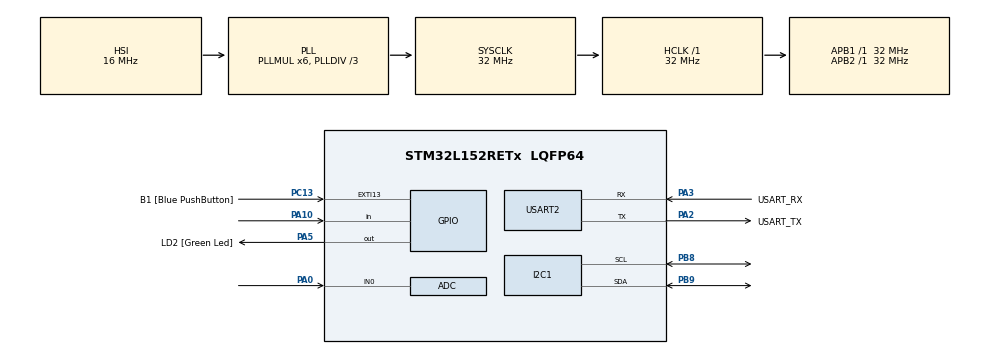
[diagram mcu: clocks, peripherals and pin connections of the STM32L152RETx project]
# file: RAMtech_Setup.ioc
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ADC.Channel-0\#ChannelRegularConversion=ADC_CHANNEL_0
ADC.ContinuousConvMode=ENABLE
ADC.DMAContinuousRequests=ENABLE
ADC.NbrOfConversion=1
ADC.NbrOfConversionFlag=1
ADC.Rank-0\#ChannelRegularConversion=1
ADC.SamplingTime-0\#ChannelRegularConversion=ADC_SAMPLETIME_384CYCLES
ADC.ScanConvMode=ADC_SCAN_ENABLE
Dma.ADC.0.Direction=DMA_PERIPH_TO_MEMORY
Dma.ADC.0.Instance=DMA1_Channel1
Dma.ADC.0.MemDataAlignment=DMA_MDATAALIGN_WORD
Dma.ADC.0.MemInc=DMA_MINC_ENABLE
Dma.ADC.0.Mode=DMA_CIRCULAR
Dma.ADC.0.PeriphDataAlignment=DMA_PDATAALIGN_WORD
Dma.ADC.0.PeriphInc=DMA_PINC_DISABLE
Dma.ADC.0.Priority=DMA_PRIORITY_LOW
Dma.Request0=ADC
Mcu.Family=STM32L1
Mcu.Name=STM32L152RETx
Mcu.Package=LQFP64
NVIC.DMA1_Channel1_IRQn=true\:0\:0\:false\:false\:true\:false\:true\:true
NVIC.PriorityGroup=NVIC_PRIORITYGROUP_0
PA0-WKUP1.Mode=IN0
PA0-WKUP1.Signal=ADC_IN0
PA10.Signal=GPIO_Input
PA13.GPIO_Label=TMS
PA13.Mode=Serial_Wire
PA13.Signal=SYS_JTMS-SWDIO
PA14.GPIO_Label=TCK
PA14.Mode=Serial_Wire
PA14.Signal=SYS_JTCK-SWCLK
PA2.GPIO_Label=USART_TX
PA2.Mode=Asynchronous
PA2.Signal=USART2_TX
PA3.GPIO_Label=USART_RX
PA3.Mode=Asynchronous
PA3.Signal=USART2_RX
PA5.GPIO_Label=LD2 [Green Led]
PA5.Signal=GPIO_Output
PB3.GPIO_Label=SWO
PB3.Signal=SYS_JTDO-TRACESWO
PB8.Mode=I2C
PB8.Signal=I2C1_SCL
PB9.Mode=I2C
PB9.Signal=I2C1_SDA
PC13-WKUP2.GPIO_Label=B1 [Blue PushButton]
PC13-WKUP2.Signal=GPXTI13
PC14-OSC32_IN.Mode=LSE-External-Oscillator
PC14-OSC32_IN.Signal=RCC_OSC32_IN
PC15-OSC32_OUT.Mode=LSE-External-Oscillator
PC15-OSC32_OUT.Signal=RCC_OSC32_OUT
PH0-OSC_IN.Mode=HSE-External-Clock-Source
PH0-OSC_IN.Signal=RCC_OSC_IN
PH1-OSC_OUT.Signal=RCC_OSC_OUT
ProjectManager.HeapSize=0x200
ProjectManager.StackSize=0x400
ProjectManager.TargetToolchain=STM32CubeIDE
RCC.48MHZClocksFreq_Value=48000000
RCC.AHBFreq_Value=32000000
RCC.APB1Freq_Value=32000000
RCC.APB1TimFreq_Value=32000000
RCC.APB2Freq_Value=32000000
RCC.APB2TimFreq_Value=32000000
RCC.HCLKFreq_Value=32000000
RCC.HSE_VALUE=8000000
RCC.HSI_VALUE=16000000
RCC.MSI_VALUE=2097000
RCC.PLLDIV=RCC_PLL_DIV3
RCC.PLLMUL=RCC_PLL_MUL6
RCC.RTCClockSelectionVirtual=RCC_RTCCLKSOURCE_LSE
RCC.SYSCLKFreq_VALUE=32000000
RCC.SYSCLKSource=RCC_SYSCLKSOURCE_PLLCLK
RCC.USBOutput=48000000
RCC.VCOOutputFreq_Value=96000000
USART2.VirtualMode=VM_ASYNC
board=NUCLEO-L152RE

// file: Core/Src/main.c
/* USER CODE BEGIN Header */
/**
  ******************************************************************************
  * @file           : main.c
  * @brief          : Main program body
  ******************************************************************************
  * @attention
  *
  * Copyright (c) 2025 STMicroelectronics.
  * All rights reserved.
  *
  * This software is licensed under terms that can be found in the LICENSE file
  * in the root directory of this software component.
  * If no LICENSE file comes with this software, it is provided AS-IS.
  *
  ******************************************************************************
  */
/* USER CODE END Header */
#include "main.h"

/* USER CODE BEGIN Includes */
#include "main.h"
#include "button_input.h"
#include "temp_meas.h"
#include "freq_meas.h"
#include "lcd.h"
#include "custom_chars.h"
#include "tilt.h"

/* USER CODE END Includes */

/* USER CODE BEGIN PTD */
typedef enum {
    MENU_MAIN,
	MENU_TEMP,
	MENU_FREQ
} MenuState;
/* USER CODE END PTD */

/* USER CODE BEGIN PD */
#define REG_MODE1 0x00
#define REG_MODE2 0x01
#define REG_PWM0  0x02  // Red
#define REG_PWM1  0x03  // Green
#define REG_PWM2  0x04  // Blue
#define REG_GRPPWM 0x06
#define REG_LEDOUT 0x08
/* USER CODE END PD */

ADC_HandleTypeDef hadc;
DMA_HandleTypeDef hdma_adc;

I2C_HandleTypeDef hi2c1;

UART_HandleTypeDef huart2;

/* USER CODE BEGIN PV */

// This is the buffer we store our ADC readings in. Each value contains one reading.
// We can adjust the size of this buffer to allow us to store more data if desired.
// Right now, it just has one number, for one channel.
uint32_t adcBuffer[1];

/* USER CODE END PV */

void SystemClock_Config(void);
static void MX_GPIO_Init(void);
static void MX_DMA_Init(void);
static void MX_USART2_UART_Init(void);
static void MX_ADC_Init(void);
static void MX_I2C1_Init(void);

int main(void)
{

  /* MCU Configuration--------------------------------------------------------*/

  /* Reset of all peripherals, Initializes the Flash interface and the Systick. */
  HAL_Init();

  /* Configure the system clock */
  SystemClock_Config();

  /* Initialize all configured peripherals */
  MX_GPIO_Init();
  MX_DMA_Init();
  MX_USART2_UART_Init();
  MX_ADC_Init();
  MX_I2C1_Init();
  /* USER CODE BEGIN 2 */
   RGB_LCD_HandleTypeDef lcd;
   lcd.hi2c = &hi2c1;
   lcd.rgb_addr = 0x62 << 1; // RGB controller address (8-bit)
   lcd.cols = 16;
   lcd.rows = 2;

   // Initialize LCD
   RGB_LCD_Init(&lcd);
   tilt_init();
   signal_input_init();

   // Set a color for the backlight
   RGB_LCD_SetRGB(&lcd, 0, 177, 255); // Light blue
   RGB_LCD_ClearScreen(&lcd);

   // Initialize state and measurement variables
   MenuState currentMenu = MENU_MAIN;
   Button last_click = NONE;
   float t_temp;
   float freq;
   bool flip;

   // Enable ADC with DMA reading one word (32bits) at a time. It will then be stored in the adcBuffer variable.
   // We can adjust this function as necessary to implement more ADC reading functionality.
   // For example, if we change the second argument to 2, then we would take two different readings.
   // This could be useful if we wanted to implement an additional ADC channel.
   HAL_ADC_Start_DMA(&hadc, adcBuffer, 1);

  /* USER CODE END 2 */

  /* Infinite loop */
  while (1)
  {

    /* USER CODE BEGIN 3 */
	  // read the latest button push
  	  last_click = GetButton(adcBuffer);

  	  // check the orientation of the device
  	  //flip = detect_tilt();
  	  flip = false;

  	  // Based on the button push, display the correct screen on the LCD
  			switch (currentMenu) {
  				case MENU_MAIN:
  					// clear display
  					RGB_LCD_ClearScreen(&lcd);

  					if (flip == false){
  						// print right side up text for the main menu
  						RGB_LCD_SetMemoryPointerAtScreenPosition(&lcd, 0, 0);
  						RGB_LCD_WriteStringToMemory(&lcd, "MAIN MENU");
  					}
  					else if(flip == true){
  						// print upside down text for the main menu

  					}

  					// screen change options for main menu
  					if (last_click == BUTTON_UP) currentMenu = MENU_TEMP;
  					if (last_click == BUTTON_DOWN) currentMenu = MENU_FREQ;
  					break;

  				case MENU_TEMP: {
  					// clear display
  					RGB_LCD_ClearScreen(&lcd);

  					// measure temperature
  					t_temp = rtd_read_temperature_f(adcBuffer);

  					if (flip == false){
  						// print right side up text for the temperature screen
  						RGB_LCD_SetMemoryPointerAtScreenPosition(&lcd, 0, 0);
  						RGB_LCD_WriteFormattedStringToMemory(&lcd, "TEMP: %.0f F", t_temp);
  						RGB_LCD_SetMemoryPointerAtScreenPosition(&lcd, 0, 1);
  						RGB_LCD_WriteStringToMemory(&lcd,"HIT LEFT TO EXIT");
  					}
  					else if(flip == true){
  						// print upside down text for the temperature screen

  					}

  					// screen change options for temperature screen
  					if (last_click == BUTTON_LEFT) currentMenu = MENU_MAIN;
  					break;
  				}

  				case MENU_FREQ: {
  					// clear display
  					RGB_LCD_ClearScreen(&lcd);

  					// measure frequency
  					freq = measure_frequency(adcBuffer);

  					if (flip == false){
  						// print right side up text for the frequency screen
  						RGB_LCD_SetMemoryPointerAtScreenPosition(&lcd, 0, 0);
  						RGB_LCD_WriteFormattedStringToMemory(&lcd, "FREQ: %.0f Hz", freq);
  						RGB_LCD_SetMemoryPointerAtScreenPosition(&lcd, 0, 1);
  						RGB_LCD_WriteStringToMemory(&lcd,"HIT LEFT TO EXIT");
  					}
  					else if(flip == true){
  						// print upside down text for the frequency screen
  					}

  					// screen change options for frequency screen
  					if (last_click == BUTTON_LEFT) currentMenu = MENU_MAIN;
  					break;
  				}
  			}
  			HAL_Delay(100);
  }
  /* USER CODE END 3 */
}

void SystemClock_Config(void)
{
  RCC_OscInitTypeDef RCC_OscInitStruct = {0};
  RCC_ClkInitTypeDef RCC_ClkInitStruct = {0};

  /** Configure the main internal regulator output voltage
  */
  __HAL_PWR_VOLTAGESCALING_CONFIG(PWR_REGULATOR_VOLTAGE_SCALE1);

  /** Initializes the RCC Oscillators according to the specified parameters
  * in the RCC_OscInitTypeDef structure.
  */
  RCC_OscInitStruct.OscillatorType = RCC_OSCILLATORTYPE_HSI;
  RCC_OscInitStruct.HSIState = RCC_HSI_ON;
  RCC_OscInitStruct.HSICalibrationValue = RCC_HSICALIBRATION_DEFAULT;
  RCC_OscInitStruct.PLL.PLLState = RCC_PLL_ON;
  RCC_OscInitStruct.PLL.PLLSource = RCC_PLLSOURCE_HSI;
  RCC_OscInitStruct.PLL.PLLMUL = RCC_PLL_MUL6;
  RCC_OscInitStruct.PLL.PLLDIV = RCC_PLL_DIV3;
  if (HAL_RCC_OscConfig(&RCC_OscInitStruct) != HAL_OK)
  {
    Error_Handler();
  }

  /** Initializes the CPU, AHB and APB buses clocks
  */
  RCC_ClkInitStruct.ClockType = RCC_CLOCKTYPE_HCLK|RCC_CLOCKTYPE_SYSCLK
                              |RCC_CLOCKTYPE_PCLK1|RCC_CLOCKTYPE_PCLK2;
  RCC_ClkInitStruct.SYSCLKSource = RCC_SYSCLKSOURCE_PLLCLK;
  RCC_ClkInitStruct.AHBCLKDivider = RCC_SYSCLK_DIV1;
  RCC_ClkInitStruct.APB1CLKDivider = RCC_HCLK_DIV1;
  RCC_ClkInitStruct.APB2CLKDivider = RCC_HCLK_DIV1;

  if (HAL_RCC_ClockConfig(&RCC_ClkInitStruct, FLASH_LATENCY_1) != HAL_OK)
  {
    Error_Handler();
  }
}

static void MX_ADC_Init(void)
{

  ADC_ChannelConfTypeDef sConfig = {0};

  /** Configure the global features of the ADC (Clock, Resolution, Data Alignment and number of conversion)
  */
  hadc.Instance = ADC1;
  hadc.Init.ClockPrescaler = ADC_CLOCK_ASYNC_DIV1;
  hadc.Init.Resolution = ADC_RESOLUTION_12B;
  hadc.Init.DataAlign = ADC_DATAALIGN_RIGHT;
  hadc.Init.ScanConvMode = ADC_SCAN_ENABLE;
  hadc.Init.EOCSelection = ADC_EOC_SEQ_CONV;
  hadc.Init.LowPowerAutoWait = ADC_AUTOWAIT_DISABLE;
  hadc.Init.LowPowerAutoPowerOff = ADC_AUTOPOWEROFF_DISABLE;
  hadc.Init.ChannelsBank = ADC_CHANNELS_BANK_A;
  hadc.Init.ContinuousConvMode = ENABLE;
  hadc.Init.NbrOfConversion = 1;
  hadc.Init.DiscontinuousConvMode = DISABLE;
  hadc.Init.ExternalTrigConv = ADC_SOFTWARE_START;
  hadc.Init.ExternalTrigConvEdge = ADC_EXTERNALTRIGCONVEDGE_NONE;
  hadc.Init.DMAContinuousRequests = ENABLE;
  if (HAL_ADC_Init(&hadc) != HAL_OK)
  {
    Error_Handler();
  }

  /** Configure for the selected ADC regular channel its corresponding rank in the sequencer and its sample time.
  */
  sConfig.Channel = ADC_CHANNEL_0;
  sConfig.Rank = ADC_REGULAR_RANK_1;
  sConfig.SamplingTime = ADC_SAMPLETIME_384CYCLES;
  if (HAL_ADC_ConfigChannel(&hadc, &sConfig) != HAL_OK)
  {
    Error_Handler();
  }

}

static void MX_I2C1_Init(void)
{

  hi2c1.Instance = I2C1;
  hi2c1.Init.ClockSpeed = 100000;
  hi2c1.Init.DutyCycle = I2C_DUTYCYCLE_2;
  hi2c1.Init.OwnAddress1 = 0;
  hi2c1.Init.AddressingMode = I2C_ADDRESSINGMODE_7BIT;
  hi2c1.Init.DualAddressMode = I2C_DUALADDRESS_DISABLE;
  hi2c1.Init.OwnAddress2 = 0;
  hi2c1.Init.GeneralCallMode = I2C_GENERALCALL_DISABLE;
  hi2c1.Init.NoStretchMode = I2C_NOSTRETCH_DISABLE;
  if (HAL_I2C_Init(&hi2c1) != HAL_OK)
  {
    Error_Handler();
  }

}

static void MX_USART2_UART_Init(void)
{

  huart2.Instance = USART2;
  huart2.Init.BaudRate = 115200;
  huart2.Init.WordLength = UART_WORDLENGTH_8B;
  huart2.Init.StopBits = UART_STOPBITS_1;
  huart2.Init.Parity = UART_PARITY_NONE;
  huart2.Init.Mode = UART_MODE_TX_RX;
  huart2.Init.HwFlowCtl = UART_HWCONTROL_NONE;
  huart2.Init.OverSampling = UART_OVERSAMPLING_16;
  if (HAL_UART_Init(&huart2) != HAL_OK)
  {
    Error_Handler();
  }

}

static void MX_DMA_Init(void)
{

  /* DMA controller clock enable */
  __HAL_RCC_DMA1_CLK_ENABLE();

  /* DMA interrupt init */
  /* DMA1_Channel1_IRQn interrupt configuration */
  HAL_NVIC_SetPriority(DMA1_Channel1_IRQn, 0, 0);
  HAL_NVIC_EnableIRQ(DMA1_Channel1_IRQn);

}

static void MX_GPIO_Init(void)
{
  GPIO_InitTypeDef GPIO_InitStruct = {0};

  /* GPIO Ports Clock Enable */
  __HAL_RCC_GPIOC_CLK_ENABLE();
  __HAL_RCC_GPIOH_CLK_ENABLE();
  __HAL_RCC_GPIOA_CLK_ENABLE();
  __HAL_RCC_GPIOB_CLK_ENABLE();

  /*Configure GPIO pin Output Level */
  HAL_GPIO_WritePin(LD2_GPIO_Port, LD2_Pin, GPIO_PIN_RESET);

  /*Configure GPIO pin : B1_Pin */
  GPIO_InitStruct.Pin = B1_Pin;
  GPIO_InitStruct.Mode = GPIO_MODE_IT_RISING;
  GPIO_InitStruct.Pull = GPIO_NOPULL;
  HAL_GPIO_Init(B1_GPIO_Port, &GPIO_InitStruct);

  /*Configure GPIO pin : LD2_Pin */
  GPIO_InitStruct.Pin = LD2_Pin;
  GPIO_InitStruct.Mode = GPIO_MODE_OUTPUT_PP;
  GPIO_InitStruct.Pull = GPIO_NOPULL;
  GPIO_InitStruct.Speed = GPIO_SPEED_FREQ_LOW;
  HAL_GPIO_Init(LD2_GPIO_Port, &GPIO_InitStruct);

  /*Configure GPIO pin : PA10 */
  GPIO_InitStruct.Pin = GPIO_PIN_10;
  GPIO_InitStruct.Mode = GPIO_MODE_INPUT;
  GPIO_InitStruct.Pull = GPIO_NOPULL;
  HAL_GPIO_Init(GPIOA, &GPIO_InitStruct);

}

void Error_Handler(void)
{
  __disable_irq();
  while (1)
  {
  }
}
